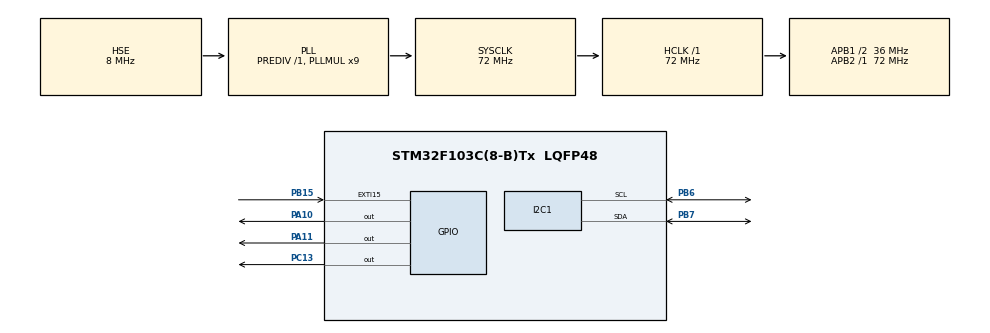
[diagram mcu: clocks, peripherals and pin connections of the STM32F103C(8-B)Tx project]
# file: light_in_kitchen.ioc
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I2C1.I2C_Mode=I2C_Fast
IWDG.Prescaler=IWDG_PRESCALER_16
IWDG.Reload=1024
Mcu.Family=STM32F1
Mcu.Name=STM32F103C(8-B)Tx
Mcu.Package=LQFP48
NVIC.EXTI15_10_IRQn=true\:0\:0\:false\:false\:true\:true\:true
NVIC.I2C1_ER_IRQn=true\:0\:0\:false\:false\:true\:true\:true
NVIC.I2C1_EV_IRQn=true\:0\:0\:false\:false\:true\:true\:true
NVIC.PriorityGroup=NVIC_PRIORITYGROUP_4
PA10.GPIO_ModeDefaultOutputPP=GPIO_MODE_OUTPUT_PP
PA10.GPIO_PuPd=GPIO_NOPULL
PA10.GPIO_Speed=GPIO_SPEED_FREQ_MEDIUM
PA10.PinState=GPIO_PIN_SET
PA10.Signal=GPIO_Output
PA11.GPIO_ModeDefaultOutputPP=GPIO_MODE_OUTPUT_PP
PA11.GPIO_Speed=GPIO_SPEED_FREQ_MEDIUM
PA11.PinState=GPIO_PIN_SET
PA11.Signal=GPIO_Output
PA13.Mode=Serial_Wire
PA13.Signal=SYS_JTMS-SWDIO
PA14.Mode=Serial_Wire
PA14.Signal=SYS_JTCK-SWCLK
PB15.GPIO_ModeDefaultEXTI=GPIO_MODE_IT_RISING_FALLING
PB15.GPIO_PuPd=GPIO_NOPULL
PB15.Signal=GPXTI15
PB6.Mode=I2C
PB6.Signal=I2C1_SCL
PB7.Mode=I2C
PB7.Signal=I2C1_SDA
PC13-TAMPER-RTC.GPIO_PuPd=GPIO_NOPULL
PC13-TAMPER-RTC.GPIO_Speed=GPIO_SPEED_FREQ_MEDIUM
PC13-TAMPER-RTC.PinState=GPIO_PIN_SET
PC13-TAMPER-RTC.Signal=GPIO_Output
PD0-OSC_IN.Mode=HSE-External-Oscillator
PD0-OSC_IN.Signal=RCC_OSC_IN
PD1-OSC_OUT.Mode=HSE-External-Oscillator
PD1-OSC_OUT.Signal=RCC_OSC_OUT
ProjectManager.HeapSize=0x200
ProjectManager.StackSize=0x400
ProjectManager.TargetToolchain=SW4STM32
RCC.AHBFreq_Value=72000000
RCC.APB1CLKDivider=RCC_HCLK_DIV2
RCC.APB1Freq_Value=36000000
RCC.APB1TimFreq_Value=72000000
RCC.APB2Freq_Value=72000000
RCC.APB2TimFreq_Value=72000000
RCC.HCLKFreq_Value=72000000
RCC.PLLMUL=RCC_PLL_MUL9
RCC.PLLSourceVirtual=RCC_PLLSOURCE_HSE
RCC.SYSCLKFreq_VALUE=72000000
RCC.SYSCLKSource=RCC_SYSCLKSOURCE_PLLCLK
RCC.USBFreq_Value=72000000
VP_IWDG_VS_IWDG.Mode=IWDG_Activate
board=custom

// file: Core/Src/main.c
/* USER CODE BEGIN Header */
/**
  ******************************************************************************
  * @file           : main.c
  * @brief          : Main program body
  ******************************************************************************
  * @attention
  *
  * <h2><center>&copy; Copyright (c) 2019 STMicroelectronics.
  * All rights reserved.</center></h2>
  *
  * This software component is licensed by ST under BSD 3-Clause license,
  * the "License"; You may not use this file except in compliance with the
  * License. You may obtain a copy of the License at:
  *                        opensource.org/licenses/BSD-3-Clause
  *
  ******************************************************************************
  */
/* USER CODE END Header */

#include "main.h"

/* USER CODE BEGIN Includes */
#include <apds9960/APDS9960.h>
/* USER CODE END Includes */

I2C_HandleTypeDef hi2c1;

IWDG_HandleTypeDef hiwdg;

/* USER CODE BEGIN PV */
/* Private variables ---------------------------------------------------------*/
static volatile char isr_flag = 0;
#define LIGHT_ON GPIO_PIN_RESET
#define LIGHT_OFF GPIO_PIN_SET
#define LIGHT_GPIO GPIOA
#define LIGHT1_PIN GPIO_PIN_11
#define LIGHT2_PIN GPIO_PIN_10
#define LIGHT1_DEFAULT_VALUE LIGHT_OFF
#define LIGHT2_DEFAULT_VALUE LIGHT_OFF
#define GESTURE_FROM_LEFT_DIR_VALUE LIGHT_ON
#define GESTURE_FROM_RIGHT_DIR_VALUE LIGHT_OFF
#define GESTURE_FROM_UP_DIR_VALUE LIGHT_ON
#define GESTURE_FROM_DOWN_DIR_VALUE LIGHT_OFF

/* USER CODE END PV */

void SystemClock_Config(void);
static void MX_GPIO_Init(void);
static void MX_I2C1_Init(void);
static void MX_IWDG_Init(void);
/* USER CODE BEGIN PFP */
/* Private function prototypes -----------------------------------------------*/
/**
 * @brief Process Incoming Gesture
 */
static void process_gesture( void );
static void checkAPDS( void );
/* USER CODE END PFP */

/* USER CODE BEGIN 0 */
static int Init_APDS9960(){
	// Initialize APDS-9960 (configure I2C and initial values)

	    if (APDS9960_init(&hi2c1) == -1){
//	    	trace_puts("Error: Gesture not init!");
	    	return -1;
	    } else {
	    	if (!APDS9960_enableGestureSensor()){
//	    		trace_puts("Error: APDS-9960 - not enabled!");
	    		return -1;
	    	}
//	    	trace_puts("Initialize APDS-9960 - OK");
	    }
	    return 0;
}
static void light_setup(){
	HAL_GPIO_WritePin(GPIOC, GPIO_PIN_13, LIGHT_OFF);
	HAL_GPIO_WritePin(LIGHT_GPIO, LIGHT1_PIN, LIGHT_OFF);
	HAL_GPIO_WritePin(LIGHT_GPIO, LIGHT2_PIN, LIGHT_OFF);

	for(int i = 0; i < 10; i++){
		HAL_IWDG_Refresh(&hiwdg);
		HAL_Delay(100);
		HAL_GPIO_WritePin(GPIOC, GPIO_PIN_13, LIGHT_ON);
//		HAL_GPIO_WritePin(LIGHT_GPIO, LIGHT1_PIN, LIGHT_ON);
//		HAL_GPIO_WritePin(LIGHT_GPIO, LIGHT2_PIN, LIGHT_ON);
		HAL_Delay(100);
		HAL_GPIO_WritePin(GPIOC, GPIO_PIN_13, LIGHT_OFF);
//		HAL_GPIO_WritePin(LIGHT_GPIO, LIGHT1_PIN, LIGHT_OFF);
//		HAL_GPIO_WritePin(LIGHT_GPIO, LIGHT2_PIN, LIGHT_OFF);

	}
}
/* USER CODE END 0 */

int main(void)
{

  /* MCU Configuration--------------------------------------------------------*/

  /* Reset of all peripherals, Initializes the Flash interface and the Systick. */
  HAL_Init();

  /* Configure the system clock */
  SystemClock_Config();

  /* Initialize all configured peripherals */
  MX_GPIO_Init();
  MX_I2C1_Init();
  MX_IWDG_Init();
  /* USER CODE BEGIN 2 */
  Init_APDS9960();
  /* USER CODE END 2 */

  /* Infinite loop */
  /* USER CODE BEGIN WHILE */
  light_setup();
  uint32_t checkAPDSTimer = HAL_GetTick();
  while (1)
  {

    /* USER CODE END WHILE */

    /* USER CODE BEGIN 3 */
//
	  if( isr_flag )
	  {
		  HAL_NVIC_DisableIRQ(EXTI15_10_IRQn);
		  process_gesture();
		  isr_flag = false;
		  HAL_NVIC_EnableIRQ(EXTI15_10_IRQn);
	  }
	   HAL_IWDG_Refresh(&hiwdg);
	   uint32_t t1 = HAL_GetTick();
	   if (t1 - checkAPDSTimer > 1000 * 15){
		   HAL_GPIO_TogglePin(GPIOC, GPIO_PIN_13);
		   checkAPDSTimer = t1;
		   checkAPDS();
	   }
  }
  /* USER CODE END 3 */
}

void SystemClock_Config(void)
{
  RCC_OscInitTypeDef RCC_OscInitStruct = {0};
  RCC_ClkInitTypeDef RCC_ClkInitStruct = {0};

  /** Initializes the CPU, AHB and APB busses clocks
  */
  RCC_OscInitStruct.OscillatorType = RCC_OSCILLATORTYPE_LSI|RCC_OSCILLATORTYPE_HSE;
  RCC_OscInitStruct.HSEState = RCC_HSE_ON;
  RCC_OscInitStruct.HSEPredivValue = RCC_HSE_PREDIV_DIV1;
  RCC_OscInitStruct.HSIState = RCC_HSI_ON;
  RCC_OscInitStruct.LSIState = RCC_LSI_ON;
  RCC_OscInitStruct.PLL.PLLState = RCC_PLL_ON;
  RCC_OscInitStruct.PLL.PLLSource = RCC_PLLSOURCE_HSE;
  RCC_OscInitStruct.PLL.PLLMUL = RCC_PLL_MUL9;
  if (HAL_RCC_OscConfig(&RCC_OscInitStruct) != HAL_OK)
  {
    Error_Handler();
  }
  /** Initializes the CPU, AHB and APB busses clocks
  */
  RCC_ClkInitStruct.ClockType = RCC_CLOCKTYPE_HCLK|RCC_CLOCKTYPE_SYSCLK
                              |RCC_CLOCKTYPE_PCLK1|RCC_CLOCKTYPE_PCLK2;
  RCC_ClkInitStruct.SYSCLKSource = RCC_SYSCLKSOURCE_PLLCLK;
  RCC_ClkInitStruct.AHBCLKDivider = RCC_SYSCLK_DIV1;
  RCC_ClkInitStruct.APB1CLKDivider = RCC_HCLK_DIV2;
  RCC_ClkInitStruct.APB2CLKDivider = RCC_HCLK_DIV1;

  if (HAL_RCC_ClockConfig(&RCC_ClkInitStruct, FLASH_LATENCY_2) != HAL_OK)
  {
    Error_Handler();
  }
}

static void MX_I2C1_Init(void)
{

  hi2c1.Instance = I2C1;
  hi2c1.Init.ClockSpeed = 400000;
  hi2c1.Init.DutyCycle = I2C_DUTYCYCLE_2;
  hi2c1.Init.OwnAddress1 = 0;
  hi2c1.Init.AddressingMode = I2C_ADDRESSINGMODE_7BIT;
  hi2c1.Init.DualAddressMode = I2C_DUALADDRESS_DISABLE;
  hi2c1.Init.OwnAddress2 = 0;
  hi2c1.Init.GeneralCallMode = I2C_GENERALCALL_DISABLE;
  hi2c1.Init.NoStretchMode = I2C_NOSTRETCH_DISABLE;
  if (HAL_I2C_Init(&hi2c1) != HAL_OK)
  {
    Error_Handler();
  }

}

static void MX_IWDG_Init(void)
{

  hiwdg.Instance = IWDG;
  hiwdg.Init.Prescaler = IWDG_PRESCALER_16;
  hiwdg.Init.Reload = 1024;
  if (HAL_IWDG_Init(&hiwdg) != HAL_OK)
  {
    Error_Handler();
  }

}

static void MX_GPIO_Init(void)
{
  GPIO_InitTypeDef GPIO_InitStruct = {0};

  /* GPIO Ports Clock Enable */
  __HAL_RCC_GPIOC_CLK_ENABLE();
  __HAL_RCC_GPIOD_CLK_ENABLE();
  __HAL_RCC_GPIOB_CLK_ENABLE();
  __HAL_RCC_GPIOA_CLK_ENABLE();

  /*Configure GPIO pin Output Level */
  HAL_GPIO_WritePin(GPIOC, GPIO_PIN_13, GPIO_PIN_SET);

  /*Configure GPIO pin Output Level */
  HAL_GPIO_WritePin(GPIOA, GPIO_PIN_10|GPIO_PIN_11, GPIO_PIN_SET);

  /*Configure GPIO pin : PC13 */
  GPIO_InitStruct.Pin = GPIO_PIN_13;
  GPIO_InitStruct.Mode = GPIO_MODE_OUTPUT_PP;
  GPIO_InitStruct.Pull = GPIO_NOPULL;
  GPIO_InitStruct.Speed = GPIO_SPEED_FREQ_MEDIUM;
  HAL_GPIO_Init(GPIOC, &GPIO_InitStruct);

  /*Configure GPIO pin : PB15 */
  GPIO_InitStruct.Pin = GPIO_PIN_15;
  GPIO_InitStruct.Mode = GPIO_MODE_IT_RISING_FALLING;
  GPIO_InitStruct.Pull = GPIO_NOPULL;
  HAL_GPIO_Init(GPIOB, &GPIO_InitStruct);

  /*Configure GPIO pins : PA10 PA11 */
  GPIO_InitStruct.Pin = GPIO_PIN_10|GPIO_PIN_11;
  GPIO_InitStruct.Mode = GPIO_MODE_OUTPUT_PP;
  GPIO_InitStruct.Pull = GPIO_NOPULL;
  GPIO_InitStruct.Speed = GPIO_SPEED_FREQ_MEDIUM;
  HAL_GPIO_Init(GPIOA, &GPIO_InitStruct);

  /* EXTI interrupt init*/
  HAL_NVIC_SetPriority(EXTI15_10_IRQn, 0, 0);
  HAL_NVIC_EnableIRQ(EXTI15_10_IRQn);

}

/* USER CODE BEGIN 4 */
void HAL_GPIO_EXTI_Callback(uint16_t GPIO_Pin)
{
  if(GPIO_Pin== GPIO_PIN_15) {
//	if( ir_gesture_is_interrupted( INT_GESTURE ) )
	{
		isr_flag = true;
	}
    /* Clear interrupt flag */
	__HAL_GPIO_EXTI_CLEAR_IT(GPIO_PIN_15);
  } else{
    __NOP();
  }
}

static void checkAPDS(){
  if (APDS9960_getGestureIntEnable() != 1){
	  if (Init_APDS9960() == -1){
		  // init failed
		  NVIC_SystemReset();
	  }
  }
}

static void process_gesture()
{
    if ( APDS9960_isGestureAvailable() )
    {
    	int gestureValue = APDS9960_readGesture(400);
        switch ( gestureValue )
        {
          case DIR_UP:
//        	trace_printf("Up\n");
        	  HAL_GPIO_WritePin(LIGHT_GPIO, LIGHT2_PIN, GESTURE_FROM_UP_DIR_VALUE);
            break;
          case DIR_DOWN:
//        	  trace_printf("Down\n");
        	  HAL_GPIO_WritePin(LIGHT_GPIO, LIGHT2_PIN, GESTURE_FROM_DOWN_DIR_VALUE);
            break;
          case DIR_LEFT:
//        	  trace_printf("Left\n");
        	  HAL_GPIO_WritePin(LIGHT_GPIO, LIGHT1_PIN, GESTURE_FROM_LEFT_DIR_VALUE);
//        	  HAL_GPIO_WritePin(GPIOC, GPIO_PIN_13, GESTURE_FROM_LEFT_DIR_VALUE);
            break;
          case DIR_RIGHT:
//        	  trace_printf("Right\n");
        	  HAL_GPIO_WritePin(LIGHT_GPIO, LIGHT1_PIN, GESTURE_FROM_RIGHT_DIR_VALUE);
//        	  HAL_GPIO_WritePin(GPIOC, GPIO_PIN_13, GESTURE_FROM_RIGHT_DIR_VALUE);
            break;
          case DIR_NEAR:
//        	  trace_printf("Near\n");
            break;
          case DIR_FAR:
//        	  trace_printf("Far\n");
            break;
          default:
        	  __NOP();
//        	  trace_printf("None\n");
        }
    }
}

/* USER CODE END 4 */

void Error_Handler(void)
{
  while(1)
  {
  }
}

/************************ (C) COPYRIGHT STMicroelectronics *****END OF FILE****/
